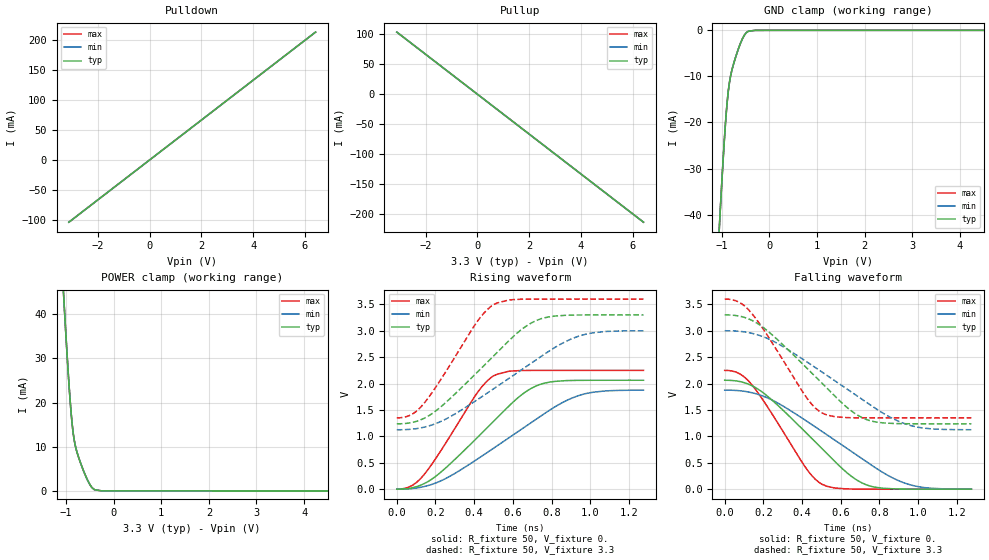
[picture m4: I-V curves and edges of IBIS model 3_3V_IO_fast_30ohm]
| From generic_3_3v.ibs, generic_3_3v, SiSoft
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[Model] 3_3V_IO_fast_30ohm
|SiSoft Include 3_3v.inc
Model_type I/O
|SiSoft Include 3_3v.inc
|C_comp_off 3.002p 2.502p 3.502p
|C_comp_on 3.002p 2.502p 3.502p
C_comp 3.002p 2.502p 3.502p
|SiSoft Rth_i 358.696K 375.001K 346.155K
|SiSoft Rth_r 30.002 30.002 30.002
|SiSoft Rth_f 29.998 29.999 29.998
Vinh = 2
Vinl = 0.8
Cref = 0
Vref = 1.65
Rref = 50
Vmeas = 1.65
|SiSoft spice_param TT Voh 3.3
|SiSoft spice_param SS Voh 3
|SiSoft spice_param FF Voh 3.6
|SiSoft spice_param ALL Vol 0
|SiSoft spice_param ALL R_SERIES 30
|SiSoft spice_param ALL RTERM_IN 1MEG
|SiSoft spice_param TT C_COMP 3pF
|SiSoft spice_param SS C_COMP 3.5pF
|SiSoft spice_param FF C_COMP 2.5pF
|SiSoft spice all testbed.mod tech_io_33
|SiSoft stimulus_rise_time 0.75n 1.0n 0.5n
[Temperature_Range] 25 100 0
[Voltage Range] 3.3 3. 3.6
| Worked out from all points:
|   slope of the pulldown table from 0 to 0.495 V, typ, clamps not added: 30 ohm
|   slope of the pullup table from 0 to 0.495 V, typ, clamps not added: 30 ohm
|   GND clamp passes 1 mA (typ) near -0.52 V on its own axis
|   POWER clamp passes 1 mA (typ) near -0.47 V on its own axis
|   rising waveform, R_fixture 50, V_fixture 0.: 20-80 % time 345ps typ, 457ps min, 235ps max; typ from 0 V to 2.06 V
|   rising waveform, R_fixture 50, V_fixture 3.3: 20-80 % time 345ps typ, 457ps min, 235ps max; typ from 1.24 V to 3.3 V
|   falling waveform, R_fixture 50, V_fixture 0.: 20-80 % time 345ps typ, 457ps min, 234ps max; typ from 2.06 V to 0 V
|   falling waveform, R_fixture 50, V_fixture 3.3: 20-80 % time 345ps typ, 457ps min, 234ps max; typ from 3.3 V to 1.24 V
[Pulldown]
-3.118V   -103.9mA   -103.9mA   -103.9mA
4.425V    147.5mA    147.5mA    147.5mA
5.87V     195.7mA    195.7mA    195.7mA
6.41V     213.6mA    213.6mA    213.6mA
[Pullup]
-3.11V    103.6mA    103.6mA    103.7mA
-2.782V   92.73mA    92.73mA    92.73mA
5.926V    -197.5mA   -197.5mA   -197.5mA
6.418V    -213.9mA   -213.9mA   -213.9mA
[GND Clamp]
-3.118V   -501.5mA   -501.5mA   -501.5mA
-1.056V   -43.27mA   -43.27mA   -43.27mA
-1.048V   -41.85mA   -41.85mA   -41.85mA
-983.3mV  -29.74mA   -29.74mA   -29.74mA
-925.4mV  -20.34mA   -20.34mA   -20.34mA
-882mV    -14.85mA   -14.85mA   -14.85mA
-838.5mV  -11.16mA   -11.16mA   -11.16mA
-766.2mV  -7.733mA   -7.733mA   -7.734mA
-635.9mV  -3.531mA   -3.53mA    -3.532mA
-527.4mV  -1.05mA    -1.047mA   -1.052mA
-440.6mV  -193.4uA   -192.9uA   -192.7uA
6.41V     0A         0A         0A
[Power Clamp]
-3.118V   497.6mA    497.6mA    497.6mA
-1.05V    44.29mA    44.29mA    44.29mA
-1.039V   42.11mA    42.11mA    42.12mA
-971.8mV  29.71mA    29.71mA    29.72mA
-926.9mV  22.34mA    22.33mA    22.35mA
-881.9mV  16.28mA    16.28mA    16.29mA
-837mV    12.1mA     12.1mA     12.1mA
-769.6mV  8.758mA    8.756mA    8.758mA
-612.3mV  3.997mA    3.996mA    3.999mA
-488.7mV  1.254mA    1.25mA     1.256mA
-398.8mV  272.2uA    271.7uA    272.2uA
6.418V    0A         0A         0A
[Ramp]
dV/dt_r 1.237/345.42p 1.125/457.352p 1.35/234.55p
dV/dt_f 1.237/345.107p 1.125/457.35p 1.35/233.749p
[Rising Waveform]
R_fixture = 50
V_fixture = 0.
0s        37.52uV    37.52uV    37.52uV
80ps      25.89mV    12.04mV    70.68mV
140ps     101.9mV    48.06mV    271mV
260ps     426mV      215.3mV    913.9mV
420ps     991.9mV    578.3mV    1.846V
500ps     1.284V     775.1mV    2.146V
640ps     1.773V     1.124V     2.246V
750ps     1.994V     1.398V     2.25V
980ps     2.061V     1.812V     2.25V
1.275ns   2.062V     1.874V     2.25V
[Rising Waveform]
R_fixture = 50
V_fixture = 3.3
V_fixture_min = 3.
V_fixture_max = 3.6
0s        1.237V     1.125V     1.35V
80ps      1.263V     1.137V     1.421V
140ps     1.339V     1.173V     1.621V
260ps     1.663V     1.34V      2.264V
420ps     2.229V     1.703V     3.196V
500ps     2.521V     1.9V       3.496V
640ps     3.01V      2.249V     3.596V
750ps     3.232V     2.523V     3.6V
980ps     3.299V     2.937V     3.6V
1.275ns   3.3V       2.999V     3.6V
[Falling Waveform]
R_fixture = 50
V_fixture = 0.
0s        2.062V     1.875V     2.25V
80ps      2.037V     1.863V     2.179V
140ps     1.961V     1.827V     1.979V
260ps     1.636V     1.66V      1.336V
410ps     1.107V     1.321V     452.6mV
500ps     778.7mV    1.1V       98.51mV
650ps     256.9mV    726.4mV    3.41mV
750ps     59.84mV    476.7mV    278.6uV
980ps     870uV      62.51mV    38.34uV
1.275ns   39.74uV    635.2uV    37.52uV
[Falling Waveform]
R_fixture = 50
V_fixture = 3.3
V_fixture_min = 3.
V_fixture_max = 3.6
0s        3.3V       3V         3.6V
80ps      3.274V     2.988V     3.529V
140ps     3.198V     2.952V     3.329V
260ps     2.874V     2.785V     2.686V
410ps     2.344V     2.446V     1.803V
500ps     2.016V     2.225V     1.448V
650ps     1.494V     1.851V     1.353V
750ps     1.297V     1.602V     1.35V
980ps     1.238V     1.187V     1.35V
1.275ns   1.237V     1.126V     1.35V
